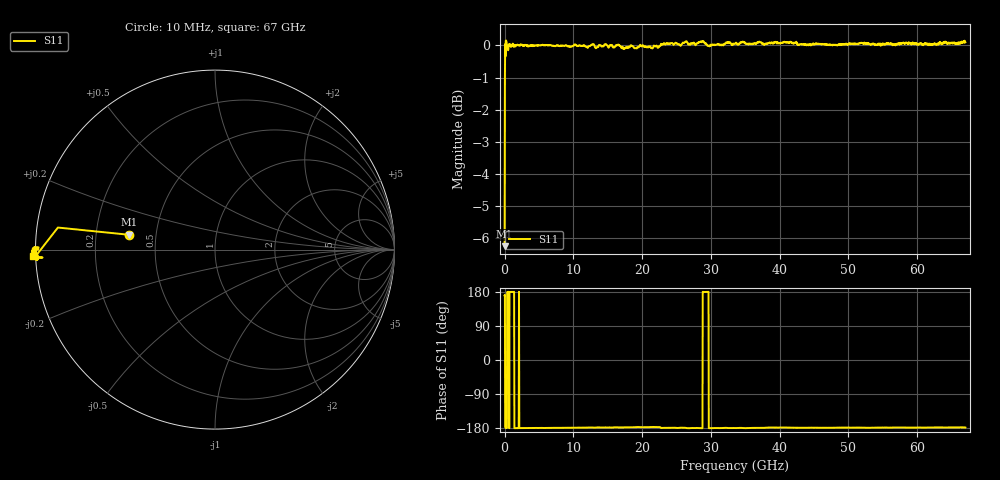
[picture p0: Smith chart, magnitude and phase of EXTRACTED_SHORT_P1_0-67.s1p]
! Generated by Phase I extraction
# Hz S RI R 50
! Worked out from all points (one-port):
!   1601 points, 10 MHz to 67 GHz, reference 50 ohm
!   lowest |S11| = -6.3 dB at 10 MHz (marker M1), VSWR 2.90, Z = 17.4 + j3.76 ohm
!   |S11| at or under -10 dB: nowhere
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1e7  -0.4797 0.0827
3.868188e8  -0.9941 0.0132
4.286875e8  -0.9909 0.0133
9.729812e8  -0.9984 0.00522
1.852225e9  -1.001 -0.00482
8.38375e9  -0.9984 -0.0187
1.67575e10  -0.9988 -0.0385
1.730179e10  -0.9866 -0.0382
1.935336e10  -0.9929 -0.0553
2.027448e10  -0.9946 -0.0462
2.178175e10  -0.9965 -0.0539
2.232604e10  -0.9902 -0.0512
2.303781e10  -1.003 -0.0156
2.513125e10  -1.006 -0.00905
2.592676e10  -1.01 -0.027
2.668039e10  -1.004 -0.00197
2.81458e10  -1.01 -0.00914
2.919252e10  -1.008 0.00871
2.982055e10  -1 -0.00397
3.203959e10  -1.006 -0.0157
3.3505e10  -1.006 -0.00938
3.735692e10  -1.01 -0.00982
3.861299e10  -1.008 -0.0323
4.187875e10  -1.009 -0.0251
4.585628e10  -1.005 -0.0191
5.02525e10  -1.005 -0.0257
5.862625e10  -1.005 -0.0297
6.7e10  -1.011 -0.0332
